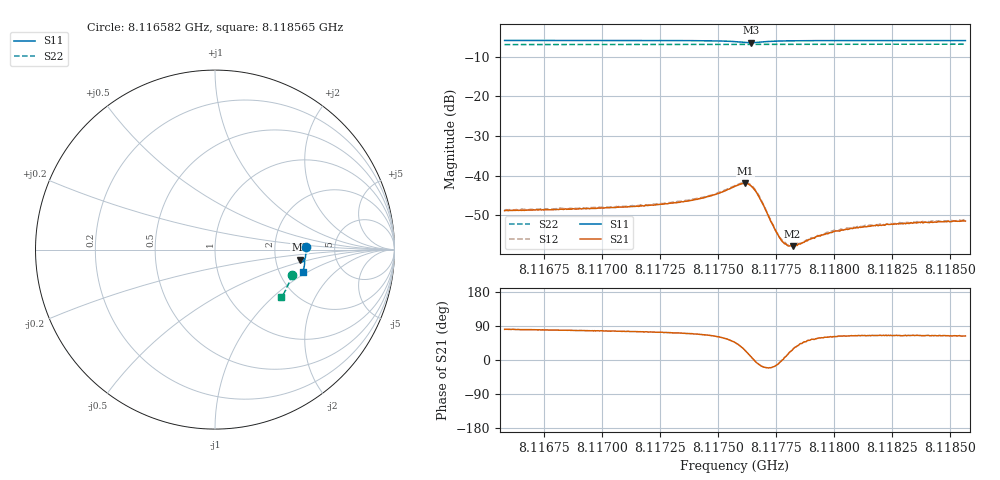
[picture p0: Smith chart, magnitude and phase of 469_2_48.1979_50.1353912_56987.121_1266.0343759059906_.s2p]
#  HZ  S  RI  R  50.00
! Rohde & Schwarz Vector Network Analyzer
! Rohde-Schwarz,ZNB20-2Port,1311601062101988,3.16
! Created: UTC 3/20/2024, 11:57:04 AM
! freq[Hz]  re:S11  im:S11  re:S21  im:S21  re:S12  im:S12  re:S22  im:S22
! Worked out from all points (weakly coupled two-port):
!   401 points, 8.116582 GHz to 8.118565 GHz, reference 50 ohm
!   highest |S21| = -41.97 dB at 8.117618 GHz (marker M1); lowest = -57.8 dB at 8.117822 GHz (marker M2)
!   lowest |S11| = -6.5 dB at 8.117643 GHz (marker M3), VSWR 2.81, Z = 137 - j19.8 ohm
!   |S11| at or under -10 dB: nowhere
!   |S22| runs from -6.9 to -6.8 dB; largest |S21 - S12| = 0.00022
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8.1165822e9  0.5074 0.0161  0.000574 0.00357  0.000597 0.00362  0.4278 -0.1406
8.1169143e9  0.5071 -0.00954  0.000794 0.0037  0.000828 0.00379  0.421 -0.1626
8.1172465e9  0.5049 -0.0363  0.00124 0.00414  0.0013 0.00423  0.4127 -0.1844
8.1173605e9  0.5031 -0.0464  0.00162 0.00446  0.00167 0.00459  0.4097 -0.1918
8.1174349e9  0.5007 -0.0539  0.00203 0.00479  0.00211 0.00487  0.4074 -0.1966
8.1174844e9  0.4984 -0.0593  0.0026 0.00511  0.00269 0.00518  0.406 -0.1999
8.1175737e9  0.4864 -0.0685  0.00508 0.00529  0.00527 0.00535  0.4031 -0.2055
8.1176183e9  0.4747 -0.0643  0.00725 0.00332  0.0074 0.00335  0.4013 -0.2079
8.1176431e9  0.4724 -0.0556  0.00734 0.00105  0.0075 0.000998  0.4006 -0.209
8.117658e9  0.4746 -0.0505  0.00663 -0.000188  0.00682 -0.000219  0.4004 -0.2097
8.1176778e9  0.4803 -0.0467  0.00523 -0.00116  0.00541 -0.00121  0.4001 -0.2109
8.1177422e9  0.4945 -0.0516  0.00209 -0.000653  0.00217 -0.000658  0.3988 -0.2149
8.117767e9  0.4967 -0.0551  0.00161 -0.000159  0.00163 -0.000185  0.398 -0.2166
8.1177769e9  0.4975 -0.0565  0.00148 2.16e-06  0.00153 -3.88e-05  0.3978 -0.2174
8.1177968e9  0.4983 -0.0592  0.00131 0.000277  0.00131 0.000297  0.3973 -0.2186
8.1178216e9  0.4991 -0.0625  0.00115 0.000587  0.00116 0.000612  0.3964 -0.2202
8.1178513e9  0.4995 -0.0658  0.00103 0.000909  0.00103 0.000944  0.3955 -0.2221
8.1179058e9  0.4997 -0.0716  0.000924 0.00133  0.000995 0.00131  0.3939 -0.2255
8.1179901e9  0.4992 -0.0795  0.000944 0.00166  0.000997 0.00174  0.3911 -0.231
8.1180992e9  0.4979 -0.0888  0.000971 0.00199  0.000982 0.00205  0.3873 -0.2377
8.118238e9  0.4959 -0.0999  0.00104 0.00219  0.00107 0.00221  0.3824 -0.2463
8.1185652e9  0.4901 -0.1247  0.00119 0.00239  0.00127 0.00244  0.3703 -0.2658
